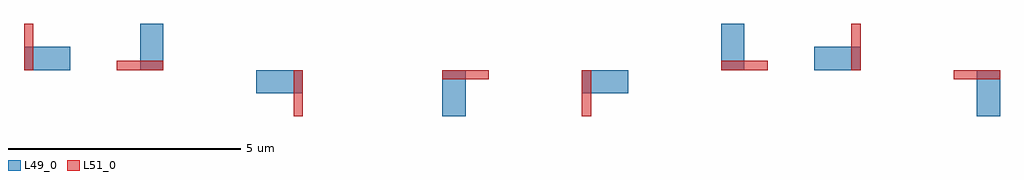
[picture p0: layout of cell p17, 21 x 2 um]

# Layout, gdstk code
from math import pi, radians
import gdstk
lib = gdstk.Library(unit=1e-6, precision=1e-09)
def R(c, l, rs):  # rectangles x0, y0, x1, y1
    for r in rs: c.add(gdstk.rectangle(r[:2], r[2:], *l))
L49_0 = (49, 0)
L51_0 = (51, 0)

c_c = lib.new_cell('c')
R(c_c, L49_0, [(0,0,1,0.5)])
R(c_c, L51_0, [(0,0,0.2,1)])

p17 = lib.new_cell('p17')
p17.add(gdstk.Reference(c_c, (0,0)))
p17.add(gdstk.Reference(c_c, (3,0), rotation=pi/2))
p17.add(gdstk.Reference(c_c, (6,0), rotation=pi))
p17.add(gdstk.Reference(c_c, (9,0), rotation=3*pi/2))
p17.add(gdstk.Reference(c_c, (12,0), x_reflection=True))
p17.add(gdstk.Reference(c_c, (15,0), rotation=pi/2, x_reflection=True))
p17.add(gdstk.Reference(c_c, (18,0), rotation=pi, x_reflection=True))
p17.add(gdstk.Reference(c_c, (21,0), rotation=3*pi/2, x_reflection=True))

lib.write_gds('p17.gds')
